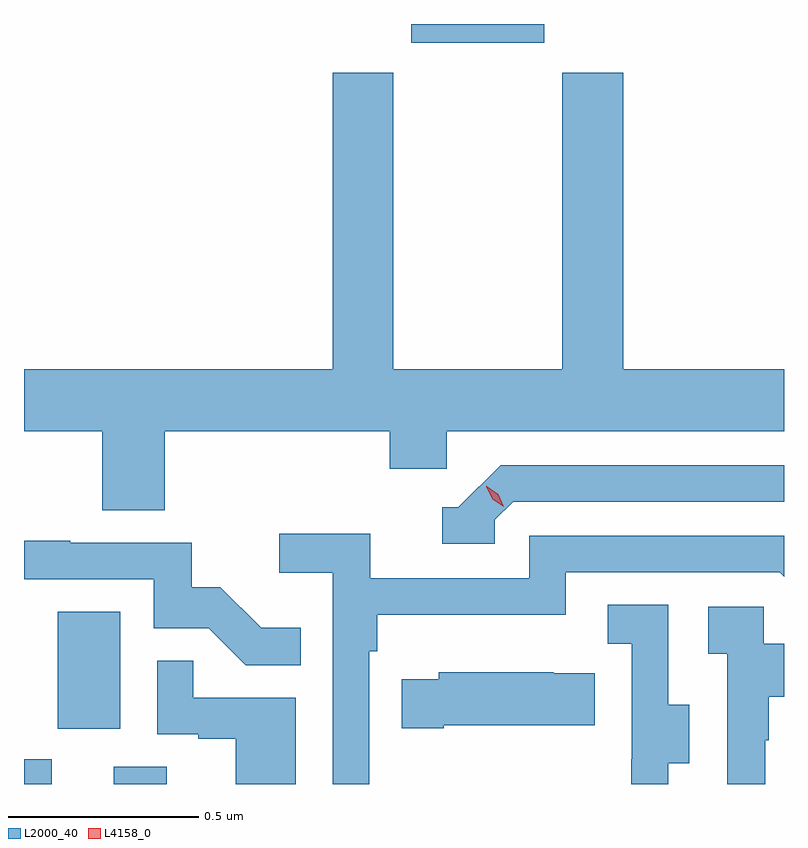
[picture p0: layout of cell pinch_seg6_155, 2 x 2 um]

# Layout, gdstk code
import gdstk
lib = gdstk.Library(unit=1e-6, precision=1e-09)
def R(c, l, rs):  # rectangles x0, y0, x1, y1
    for r in rs: c.add(gdstk.rectangle(r[:2], r[2:], *l))
def P(c, l, *ps):  # polygons
    for p in ps: c.add(gdstk.Polygon(p, *l))
L2000_40 = (2000, 40)
L4158_0 = (4158, 0)

pinch_seg6_155 = lib.new_cell('pinch_seg6_155')
R(pinch_seg6_155, L2000_40, [(973.311,926.428,973.384,926.493), (973.547,926.428,973.687,926.474), (973.4,926.574,973.564,926.881), (974.33,928.379,974.68,928.428)])
P(pinch_seg6_155, L2000_40, [(973.682,927.356),(974.273,927.356),(974.273,927.258),(974.424,927.258),(974.424,927.356),(975.311,927.356),(975.311,927.52),(974.888,927.52),(974.888,928.3),(974.728,928.3),(974.728,927.52),(974.283,927.52),(974.283,928.3),(974.123,928.3),(974.123,927.52),(973.311,927.52),(973.311,927.356),(973.517,927.356),(973.517,927.148),(973.682,927.148)],
  [(974.55,927.123),(974.598,927.171),(975.311,927.171),(975.311,927.267),(974.565,927.267),(974.454,927.156),(974.411,927.156),(974.411,927.06),(974.55,927.06)],
  [(974.22,926.777),(974.24,926.777),(974.24,926.873),(974.736,926.873),(974.736,926.985),(975.3,926.985),(975.311,926.974),(975.311,927.081),(974.64,927.081),(974.64,926.97),(974.222,926.97),(974.222,927.086),(973.983,927.086),(973.983,926.984),(974.124,926.984),(974.124,926.428),(974.22,926.428)],
  [(974.039,926.839),(973.935,926.839),(973.828,926.946),(973.752,926.946),(973.752,927.063),(973.433,927.063),(973.433,927.068),(973.311,927.068),(973.311,926.967),(973.653,926.967),(973.653,926.838),(973.797,926.838),(973.895,926.74),(974.039,926.74)],
  [(975.007,926.482),(975.061,926.482),(975.061,926.637),(975.006,926.637),(975.006,926.9),(974.847,926.9),(974.847,926.797),(974.91,926.797),(974.91,926.493),(974.909,926.493),(974.909,926.428),(975.007,926.428)],
  [(975.261,926.543),(975.271,926.543),(975.271,926.657),(975.311,926.657),(975.311,926.797),(975.258,926.797),(975.258,926.895),(975.111,926.895),(975.111,926.771),(975.162,926.771),(975.162,926.428),(975.261,926.428)],
  [(974.026,926.655),(973.757,926.655),(973.757,926.753),(973.662,926.753),(973.662,926.559),(973.769,926.559),(973.769,926.547),(973.868,926.547),(973.868,926.428),(974.026,926.428)],
  [(974.416,926.582),(974.813,926.582),(974.813,926.719),(974.705,926.719),(974.705,926.722),(974.403,926.722),(974.403,926.704),(974.305,926.704),(974.305,926.575),(974.416,926.575)])
P(pinch_seg6_155, L4158_0, [(974.574,927.157),(974.544,927.177),(974.528,927.21),(974.528,927.211),(974.529,927.211),(974.559,927.19),(974.574,927.157),(974.574,927.157)])

lib.write_gds('pinch_seg6_155.gds')
